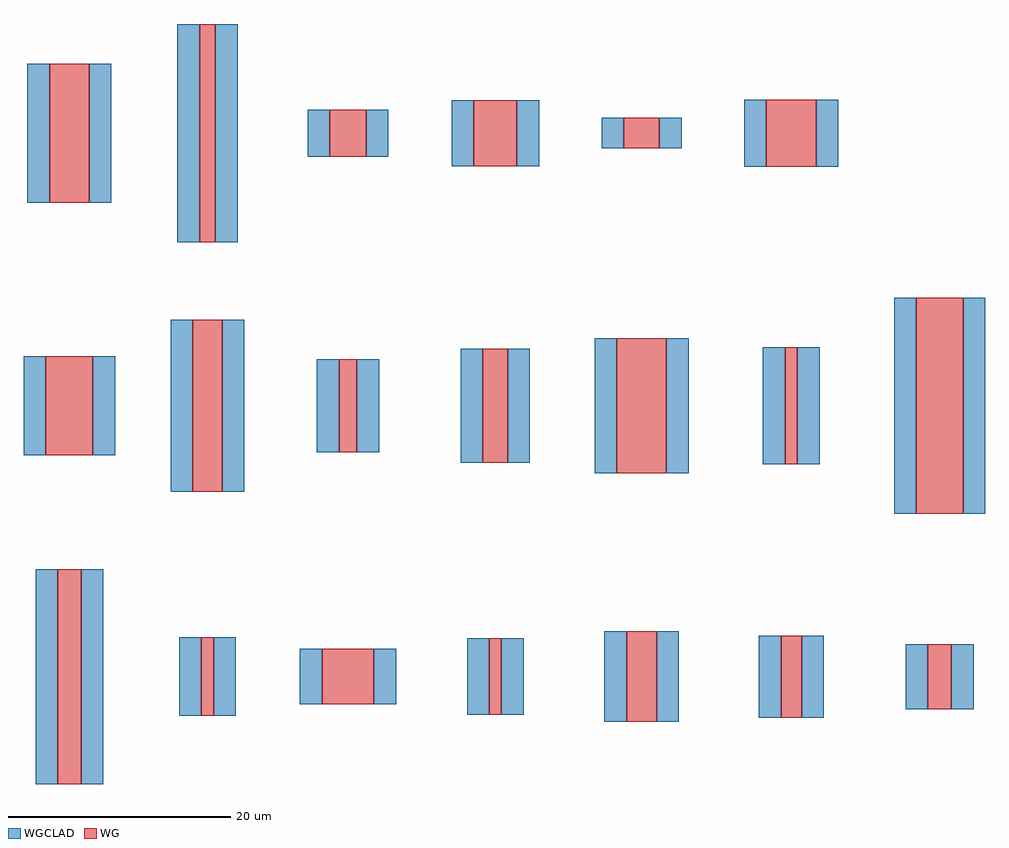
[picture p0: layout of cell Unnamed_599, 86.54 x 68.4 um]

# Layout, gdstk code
from math import pi, radians
import gdstk
lib = gdstk.Library(unit=1e-6, precision=1e-09)
def R(c, l, rs):  # rectangles x0, y0, x1, y1
    for r in rs: c.add(gdstk.rectangle(r[:2], r[2:], *l))
WG = (1, 0)
WGCLAD = (111, 0)

straight_w4488_l6060_lwg = lib.new_cell('straight_W4488_L6060_LWG_EWGSTD')
R(straight_w4488_l6060_lwg, WG, [(0,-2.244,6.06,2.244)])
R(straight_w4488_l6060_lwg, WGCLAD, [(0,-4.244,6.06,-2.244), (0,2.244,6.06,4.244)])

straight_w3870_l5932_lwg = lib.new_cell('straight_W3870_L5932_LWG_EWGSTD')
R(straight_w3870_l5932_lwg, WG, [(0,-1.935,5.932,1.935)])
R(straight_w3870_l5932_lwg, WGCLAD, [(0,-3.935,5.932,-1.935), (0,1.935,5.932,3.935)])

straight_w3262_l4226_lwg = lib.new_cell('straight_W3262_L4226_LWG_EWGSTD')
R(straight_w3262_l4226_lwg, WG, [(0,-1.631,4.226,1.631)])
R(straight_w3262_l4226_lwg, WGCLAD, [(0,-3.631,4.226,-1.631), (0,1.631,4.226,3.631)])

straight_w3572_l12509_lw = lib.new_cell('straight_W3572_L12509_LWG_EWGSTD')
R(straight_w3572_l12509_lw, WG, [(0,-1.786,12.509,1.786)])
R(straight_w3572_l12509_lw, WGCLAD, [(0,-3.786,12.509,-1.786), (0,1.786,12.509,3.786)])

straight_w1084_l7055_lwg = lib.new_cell('straight_W1084_L7055_LWG_EWGSTD')
R(straight_w1084_l7055_lwg, WG, [(0,-0.542,7.055,0.542)])
R(straight_w1084_l7055_lwg, WGCLAD, [(0,-2.542,7.055,-0.542), (0,0.542,7.055,2.542)])

straight_w4212_l19414_lw = lib.new_cell('straight_W4212_L19414_LWG_EWGSTD')
R(straight_w4212_l19414_lw, WG, [(0,-2.106,19.414,2.106)])
R(straight_w4212_l19414_lw, WGCLAD, [(0,-4.106,19.414,-2.106), (0,2.106,19.414,4.106)])

straight_w2696_l8169_lwg = lib.new_cell('straight_W2696_L8169_LWG_EWGSTD')
R(straight_w2696_l8169_lwg, WG, [(0,-1.348,8.169,1.348)])
R(straight_w2696_l8169_lwg, WGCLAD, [(0,-3.348,8.169,-1.348), (0,1.348,8.169,3.348)])

straight_w1086_l6907_lwg = lib.new_cell('straight_W1086_L6907_LWG_EWGSTD')
R(straight_w1086_l6907_lwg, WG, [(0,-0.543,6.907,0.543)])
R(straight_w1086_l6907_lwg, WGCLAD, [(0,-2.543,6.907,-0.543), (0,0.543,6.907,2.543)])

straight_w2636_l15451_lw = lib.new_cell('straight_W2636_L15451_LWG_EWGSTD')
R(straight_w2636_l15451_lw, WG, [(0,-1.318,15.451,1.318)])
R(straight_w2636_l15451_lw, WGCLAD, [(0,-3.318,15.451,-1.318), (0,1.318,15.451,3.318)])

straight_w3194_l2751_lwg = lib.new_cell('straight_W3194_L2751_LWG_EWGSTD')
R(straight_w3194_l2751_lwg, WG, [(0,-1.597,2.751,1.597)])
R(straight_w3194_l2751_lwg, WGCLAD, [(0,-3.597,2.751,-1.597), (0,1.597,2.751,3.597)])

straight_w1854_l7391_lwg = lib.new_cell('straight_W1854_L7391_LWG_EWGSTD')
R(straight_w1854_l7391_lwg, WG, [(0,-0.927,7.391,0.927)])
R(straight_w1854_l7391_lwg, WGCLAD, [(0,-2.927,7.391,-0.927), (0,0.927,7.391,2.927)])

straight_w2100_l19335_lw = lib.new_cell('straight_W2100_L19335_LWG_EWGSTD')
R(straight_w2100_l19335_lw, WG, [(0,-1.05,19.335,1.05)])
R(straight_w2100_l19335_lw, WGCLAD, [(0,-3.05,19.335,-1.05), (0,1.05,19.335,3.05)])

straight_w1608_l8392_lwg = lib.new_cell('straight_W1608_L8392_LWG_EWGSTD')
R(straight_w1608_l8392_lwg, WG, [(0,-0.804,8.392,0.804)])
R(straight_w1608_l8392_lwg, WGCLAD, [(0,-2.804,8.392,-0.804), (0,0.804,8.392,2.804)])

straight_w1430_l19655_lw = lib.new_cell('straight_W1430_L19655_LWG_EWGSTD')
R(straight_w1430_l19655_lw, WG, [(0,-0.715,19.655,0.715)])
R(straight_w1430_l19655_lw, WGCLAD, [(0,-2.715,19.655,-0.715), (0,0.715,19.655,2.715)])

straight_w2126_l5858_lwg = lib.new_cell('straight_W2126_L5858_LWG_EWGSTD')
R(straight_w2126_l5858_lwg, WG, [(0,-1.063,5.858,1.063)])
R(straight_w2126_l5858_lwg, WGCLAD, [(0,-3.063,5.858,-1.063), (0,1.063,5.858,3.063)])

straight_w2234_l10264_lw = lib.new_cell('straight_W2234_L10264_LWG_EWGSTD')
R(straight_w2234_l10264_lw, WG, [(0,-1.117,10.264,1.117)])
R(straight_w2234_l10264_lw, WGCLAD, [(0,-3.117,10.264,-1.117), (0,1.117,10.264,3.117)])

straight_w4652_l4990_lwg = lib.new_cell('straight_W4652_L4990_LWG_EWGSTD')
R(straight_w4652_l4990_lwg, WG, [(0,-2.326,4.99,2.326)])
R(straight_w4652_l4990_lwg, WGCLAD, [(0,-4.326,4.99,-2.326), (0,2.326,4.99,4.326)])

straight_w4462_l12165_lw = lib.new_cell('straight_W4462_L12165_LWG_EWGSTD')
R(straight_w4462_l12165_lw, WG, [(0,-2.231,12.165,2.231)])
R(straight_w4462_l12165_lw, WGCLAD, [(0,-4.231,12.165,-2.231), (0,2.231,12.165,4.231)])

straight_w4220_l8877_lwg = lib.new_cell('straight_W4220_L8877_LWG_EWGSTD')
R(straight_w4220_l8877_lwg, WG, [(0,-2.11,8.877,2.11)])
R(straight_w4220_l8877_lwg, WGCLAD, [(0,-4.11,8.877,-2.11), (0,2.11,8.877,4.11)])

straight_w1096_l10534_lw = lib.new_cell('straight_W1096_L10534_LWG_EWGSTD')
R(straight_w1096_l10534_lw, WG, [(0,-0.548,10.534,0.548)])
R(straight_w1096_l10534_lw, WGCLAD, [(0,-2.548,10.534,-0.548), (0,0.548,10.534,2.548)])

unnamed_599 = lib.new_cell('Unnamed_599')
unnamed_599.add(gdstk.Reference(straight_w4488_l6060_lwg, (64.974,60.546), rotation=pi/2))
unnamed_599.add(gdstk.Reference(straight_w3870_l5932_lwg, (38.333,60.61), rotation=pi/2))
unnamed_599.add(gdstk.Reference(straight_w3262_l4226_lwg, (25.072,61.463), rotation=pi/2))
unnamed_599.add(gdstk.Reference(straight_w3572_l12509_lw, (0,57.322), rotation=pi/2))
unnamed_599.add(gdstk.Reference(straight_w1084_l7055_lwg, (12.428,11.14), rotation=pi/2))
unnamed_599.add(gdstk.Reference(straight_w4212_l19414_lw, (78.324,29.335), rotation=pi/2))
unnamed_599.add(gdstk.Reference(straight_w2696_l8169_lwg, (51.499,10.583), rotation=pi/2))
unnamed_599.add(gdstk.Reference(straight_w1086_l6907_lwg, (38.333,11.214), rotation=pi/2))
unnamed_599.add(gdstk.Reference(straight_w2636_l15451_lw, (12.428,31.317), rotation=pi/2))
unnamed_599.add(gdstk.Reference(straight_w3194_l2751_lwg, (51.499,62.201), rotation=pi/2))
unnamed_599.add(gdstk.Reference(straight_w1854_l7391_lwg, (64.974,10.972), rotation=pi/2))
unnamed_599.add(gdstk.Reference(straight_w2100_l19335_lw, (0,5), rotation=pi/2))
unnamed_599.add(gdstk.Reference(straight_w1608_l8392_lwg, (25.072,34.846), rotation=pi/2))
unnamed_599.add(gdstk.Reference(straight_w1430_l19655_lw, (12.428,53.749), rotation=pi/2))
unnamed_599.add(gdstk.Reference(straight_w2126_l5858_lwg, (78.324,11.738), rotation=pi/2))
unnamed_599.add(gdstk.Reference(straight_w2234_l10264_lw, (38.333,33.91), rotation=pi/2))
unnamed_599.add(gdstk.Reference(straight_w4652_l4990_lwg, (25.072,12.172), rotation=pi/2))
unnamed_599.add(gdstk.Reference(straight_w4462_l12165_lw, (51.499,32.96), rotation=pi/2))
unnamed_599.add(gdstk.Reference(straight_w4220_l8877_lwg, (0,34.604), rotation=pi/2))
unnamed_599.add(gdstk.Reference(straight_w1096_l10534_lw, (64.974,33.775), rotation=pi/2))

lib.write_gds('Unnamed_599.gds')
